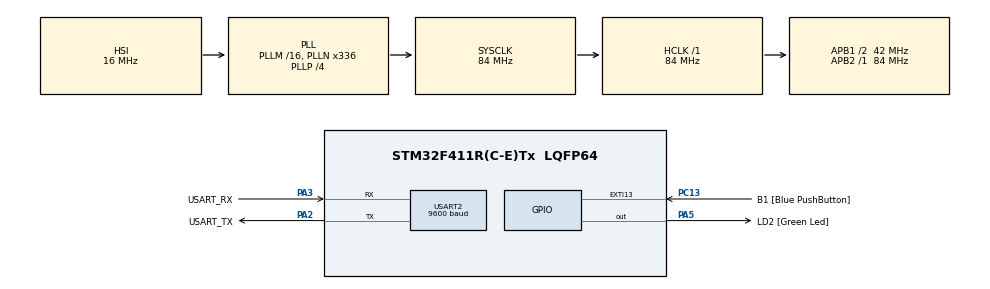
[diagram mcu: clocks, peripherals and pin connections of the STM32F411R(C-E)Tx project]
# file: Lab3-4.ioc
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FREERTOS.Tasks01=Task01,0,128,StartTask01,Default,NULL,Dynamic,NULL,NULL;Task02,-3,128,StartTask02,Default,NULL,Dynamic,NULL,NULL;Task03,-3,128,StartTask03,Default,NULL,Dynamic,NULL,NULL;Task04,-3,128,StartTask04,Default,NULL,Dynamic,NULL,NULL;Task05,-3,128,StartTask05,Default,NULL,Dynamic,NULL,NULL
FREERTOS.configUSE_TIMERS=1
Mcu.Family=STM32F4
Mcu.Name=STM32F411R(C-E)Tx
Mcu.Package=LQFP64
NVIC.PriorityGroup=NVIC_PRIORITYGROUP_4
PA13.GPIO_Label=TMS
PA13.Mode=Serial_Wire
PA13.Signal=SYS_JTMS-SWDIO
PA14.GPIO_Label=TCK
PA14.Mode=Serial_Wire
PA14.Signal=SYS_JTCK-SWCLK
PA2.GPIO_Label=USART_TX
PA2.Mode=Asynchronous
PA2.Signal=USART2_TX
PA3.GPIO_Label=USART_RX
PA3.Mode=Asynchronous
PA3.Signal=USART2_RX
PA5.GPIO_Label=LD2 [Green Led]
PA5.Signal=GPIO_Output
PB3.GPIO_Label=SWO
PB3.Signal=SYS_JTDO-SWO
PC13-ANTI_TAMP.GPIO_Label=B1 [Blue PushButton]
PC13-ANTI_TAMP.GPIO_ModeDefaultEXTI=GPIO_MODE_IT_FALLING
PC13-ANTI_TAMP.Signal=GPXTI13
PC14-OSC32_IN.Mode=LSE-External-Oscillator
PC14-OSC32_IN.Signal=RCC_OSC32_IN
PC15-OSC32_OUT.Mode=LSE-External-Oscillator
PC15-OSC32_OUT.Signal=RCC_OSC32_OUT
PH0\ -\ OSC_IN.Mode=HSE-External-Clock-Source
PH0\ -\ OSC_IN.Signal=RCC_OSC_IN
PH1\ -\ OSC_OUT.Mode=HSE-External-Clock-Source
PH1\ -\ OSC_OUT.Signal=RCC_OSC_OUT
ProjectManager.HeapSize=0x200
ProjectManager.StackSize=0x400
ProjectManager.TargetToolchain=STM32CubeIDE
RCC.48MHZClocksFreq_Value=84000000
RCC.AHBFreq_Value=84000000
RCC.APB1CLKDivider=RCC_HCLK_DIV2
RCC.APB1Freq_Value=42000000
RCC.APB1TimFreq_Value=84000000
RCC.APB2Freq_Value=84000000
RCC.APB2TimFreq_Value=84000000
RCC.CortexFreq_Value=84000000
RCC.FLatency-AdvancedSettings=FLASH_LATENCY_2
RCC.HCLKFreq_Value=84000000
RCC.HSE_VALUE=8000000
RCC.HSI_VALUE=16000000
RCC.PLLN=336
RCC.PLLP=RCC_PLLP_DIV4
RCC.SYSCLKFreq_VALUE=84000000
RCC.SYSCLKSource=RCC_SYSCLKSOURCE_PLLCLK
RCC.VCOOutputFreq_Value=336000000
USART2.BaudRate=9600
USART2.VirtualMode=VM_ASYNC
VP_FREERTOS_VS_CMSIS_V1.Mode=CMSIS_V1
board=NUCLEO-F411RE

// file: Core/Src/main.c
/* USER CODE BEGIN Header */
/**
 ******************************************************************************
 * @file           : main.c
 * @brief          : Main program body
 ******************************************************************************
 * @attention
 *
 * <h2><center>&copy; Copyright (c) 2021 STMicroelectronics.
 * All rights reserved.</center></h2>
 *
 * This software component is licensed by ST under BSD 3-Clause license,
 * the "License"; You may not use this file except in compliance with the
 * License. You may obtain a copy of the License at:
 *                        opensource.org/licenses/BSD-3-Clause
 *
 ******************************************************************************
 */
/* USER CODE END Header */
#include "main.h"
#include "cmsis_os.h"

UART_HandleTypeDef huart2;

osThreadId Task01Handle;
osThreadId Task02Handle;
osThreadId Task03Handle;
osThreadId Task04Handle;
osThreadId Task05Handle;
osThreadId recvThread;
osMailQDef(mail, 32, int);
osMailQId mail;

void SystemClock_Config(void);
static void MX_GPIO_Init(void);
static void MX_USART2_UART_Init(void);
void StartTask01(void const *argument);
void StartTask02(void const *argument);
void StartTask03(void const *argument);
void StartTask04(void const *argument);
void StartTask05(void const *argument);
void recv_thread(void const *argument);

int main(void) {

	/* MCU Configuration--------------------------------------------------------*/

	/* Reset of all peripherals, Initializes the Flash interface and the Systick. */
	HAL_Init();

	/* Configure the system clock */
	SystemClock_Config();

	/* Initialize all configured peripherals */
	MX_GPIO_Init();
	MX_USART2_UART_Init();
	/* USER CODE BEGIN 2 */

	mail = osMailCreate(osMailQ(mail), NULL);
	/* USER CODE END 2 */

	/* Create the thread(s) */
	/* definition and creation of Task01 */
	osThreadDef(Task01, StartTask01, osPriorityNormal, 0, 128);
	Task01Handle = osThreadCreate(osThread(Task01), NULL);

	/* definition and creation of Task02 */
	osThreadDef(Task02, StartTask02, osPriorityNormal, 0, 128);
	Task02Handle = osThreadCreate(osThread(Task02), NULL);

	/* definition and creation of Task03 */
	osThreadDef(Task03, StartTask03, osPriorityNormal, 0, 128);
	Task03Handle = osThreadCreate(osThread(Task03), NULL);

	/* definition and creation of Task04 */
	osThreadDef(Task04, StartTask04, osPriorityNormal, 0, 128);
	Task04Handle = osThreadCreate(osThread(Task04), NULL);

	/* definition and creation of Task05 */
	osThreadDef(Task05, StartTask05, osPriorityNormal, 0, 128);
	Task05Handle = osThreadCreate(osThread(Task05), NULL);

	/* USER CODE BEGIN RTOS_THREADS */
	/* add threads, ... */
	osThreadDef(thread, recv_thread, osPriorityAboveNormal, 0, 128);
	recvThread = osThreadCreate(osThread(thread), NULL);
	/* USER CODE END RTOS_THREADS */

	/* Start scheduler */
	osKernelStart();

	/* We should never get here as control is now taken by the scheduler */
	/* Infinite loop */
	while (1) {

	}
}

void SystemClock_Config(void) {
	RCC_OscInitTypeDef RCC_OscInitStruct = { 0 };
	RCC_ClkInitTypeDef RCC_ClkInitStruct = { 0 };

	/** Configure the main internal regulator output voltage
	 */
	__HAL_RCC_PWR_CLK_ENABLE();
	__HAL_PWR_VOLTAGESCALING_CONFIG(PWR_REGULATOR_VOLTAGE_SCALE1);
	/** Initializes the RCC Oscillators according to the specified parameters
	 * in the RCC_OscInitTypeDef structure.
	 */
	RCC_OscInitStruct.OscillatorType = RCC_OSCILLATORTYPE_HSI;
	RCC_OscInitStruct.HSIState = RCC_HSI_ON;
	RCC_OscInitStruct.HSICalibrationValue = RCC_HSICALIBRATION_DEFAULT;
	RCC_OscInitStruct.PLL.PLLState = RCC_PLL_ON;
	RCC_OscInitStruct.PLL.PLLSource = RCC_PLLSOURCE_HSI;
	RCC_OscInitStruct.PLL.PLLM = 16;
	RCC_OscInitStruct.PLL.PLLN = 336;
	RCC_OscInitStruct.PLL.PLLP = RCC_PLLP_DIV4;
	RCC_OscInitStruct.PLL.PLLQ = 4;
	if (HAL_RCC_OscConfig(&RCC_OscInitStruct) != HAL_OK) {
		Error_Handler();
	}
	/** Initializes the CPU, AHB and APB buses clocks
	 */
	RCC_ClkInitStruct.ClockType = RCC_CLOCKTYPE_HCLK | RCC_CLOCKTYPE_SYSCLK
			| RCC_CLOCKTYPE_PCLK1 | RCC_CLOCKTYPE_PCLK2;
	RCC_ClkInitStruct.SYSCLKSource = RCC_SYSCLKSOURCE_PLLCLK;
	RCC_ClkInitStruct.AHBCLKDivider = RCC_SYSCLK_DIV1;
	RCC_ClkInitStruct.APB1CLKDivider = RCC_HCLK_DIV2;
	RCC_ClkInitStruct.APB2CLKDivider = RCC_HCLK_DIV1;

	if (HAL_RCC_ClockConfig(&RCC_ClkInitStruct, FLASH_LATENCY_2) != HAL_OK) {
		Error_Handler();
	}
}

static void MX_USART2_UART_Init(void) {

	huart2.Instance = USART2;
	huart2.Init.BaudRate = 9600;
	huart2.Init.WordLength = UART_WORDLENGTH_8B;
	huart2.Init.StopBits = UART_STOPBITS_1;
	huart2.Init.Parity = UART_PARITY_NONE;
	huart2.Init.Mode = UART_MODE_TX_RX;
	huart2.Init.HwFlowCtl = UART_HWCONTROL_NONE;
	huart2.Init.OverSampling = UART_OVERSAMPLING_16;
	if (HAL_UART_Init(&huart2) != HAL_OK) {
		Error_Handler();
	}

}

static void MX_GPIO_Init(void) {
	GPIO_InitTypeDef GPIO_InitStruct = { 0 };

	/* GPIO Ports Clock Enable */
	__HAL_RCC_GPIOC_CLK_ENABLE();
	__HAL_RCC_GPIOH_CLK_ENABLE();
	__HAL_RCC_GPIOA_CLK_ENABLE();
	__HAL_RCC_GPIOB_CLK_ENABLE();

	/*Configure GPIO pin Output Level */
	HAL_GPIO_WritePin(LD2_GPIO_Port, LD2_Pin, GPIO_PIN_RESET);

	/*Configure GPIO pin : B1_Pin */
	GPIO_InitStruct.Pin = B1_Pin;
	GPIO_InitStruct.Mode = GPIO_MODE_IT_FALLING;
	GPIO_InitStruct.Pull = GPIO_NOPULL;
	HAL_GPIO_Init(B1_GPIO_Port, &GPIO_InitStruct);

	/*Configure GPIO pin : LD2_Pin */
	GPIO_InitStruct.Pin = LD2_Pin;
	GPIO_InitStruct.Mode = GPIO_MODE_OUTPUT_PP;
	GPIO_InitStruct.Pull = GPIO_NOPULL;
	GPIO_InitStruct.Speed = GPIO_SPEED_FREQ_LOW;
	HAL_GPIO_Init(LD2_GPIO_Port, &GPIO_InitStruct);

}

void StartTask01(void const *argument) {
	/* USER CODE BEGIN 5 */
	/* Infinite loop */
	while (1) {
		osMailPut(mail, (uint32_t) "A");
		osDelay(50);
		osThreadYield();
	}
}
/* USER CODE END 5 */

void StartTask02(void const *argument) {
	/* USER CODE BEGIN StartTask02 */
	/* Infinite loop */
	for (;;) {
		HAL_GPIO_TogglePin(GPIOA, GPIO_PIN_5);
		osDelay(18);
	}
	/* USER CODE END StartTask02 */
}

void StartTask03(void const *argument) {
	/* USER CODE BEGIN StartTask03 */
	/* Infinite loop */
	while (1) {
		osMailPut(mail, (uint32_t) "B");
		osDelay(128);
		osThreadYield();
	}
}
/* USER CODE END StartTask03 */

void StartTask04(void const *argument) {
	/* USER CODE BEGIN StartTask04 */
	/* Infinite loop */
	int threadID = 0;
	int idx = 0;
	char buffer[32];
	while (1) {
		sprintf(buffer, "TID: %d %d\r\n", threadID, idx);
		idx++;
		osMailPut(mail, (uint32_t) buffer);
		osDelay(10);
		osThreadYield();
	}
}
/* USER CODE END StartTask04 */

void StartTask05(void const *argument) {
	/* USER CODE BEGIN StartTask05 */
	/* Infinite loop */
	int threadID = 1;
	int idx = 0;
	char buffer[32];
	while (1) {
		sprintf(buffer, "TID: %d %d\r\n", threadID, idx);
		idx++;
		osMailPut(mail, (uint32_t) buffer);
		osDelay(10);
		osThreadYield();
	}
}

void recv_thread(void const *argument) {
	int *rptr;
	osEvent evt;
	for (;;) {
		evt = osMailGet(mail, osWaitForever);        // wait for mail
		if (evt.status == osEventMail) {
			rptr = evt.value.p;
			HAL_UART_Transmit(&huart2, rptr, strlen(rptr),
			HAL_MAX_DELAY);
			osMailFree(mail, rptr);            // free memory allocated for mail
		}
	}
}
/* USER CODE END StartTask05 */

void Error_Handler(void) {
	__disable_irq();
	while (1) {
	}
}

/************************ (C) COPYRIGHT STMicroelectronics *****END OF FILE****/
